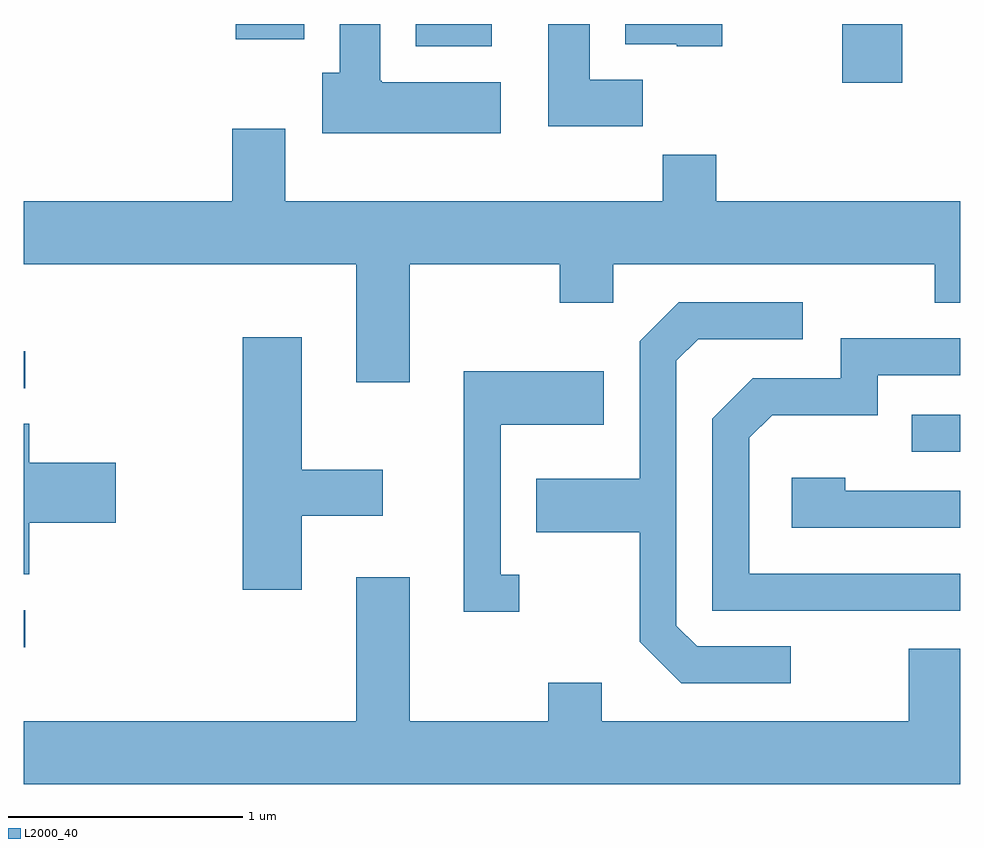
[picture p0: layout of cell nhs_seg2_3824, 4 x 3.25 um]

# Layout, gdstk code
import gdstk
lib = gdstk.Library(unit=1e-6, precision=1e-09)
def R(c, l, rs):  # rectangles x0, y0, x1, y1
    for r in rs: c.add(gdstk.rectangle(r[:2], r[2:], *l))
def P(c, l, *ps):  # polygons
    for p in ps: c.add(gdstk.Polygon(p, *l))
L2000_40 = (2000, 40)

nhs_seg2_3824 = lib.new_cell('nhs_seg2_3824')
R(nhs_seg2_3824, L2000_40, [(297.611,1031.141,297.618,1031.299), (301.403,1031.976,301.611,1032.134), (297.611,1032.246,297.618,1032.404), (301.106,1033.551,301.364,1033.802), (299.286,1033.706,299.609,1033.802), (298.516,1033.736,298.809,1033.802)])
P(nhs_seg2_3824, L2000_40, [(300.594,1033.802),(300.181,1033.802),(300.181,1033.716),(300.4,1033.716),(300.4,1033.706),(300.594,1033.706)],
  [(299.649,1033.554),(299.14,1033.554),(299.14,1033.56),(299.134,1033.56),(299.134,1033.802),(298.961,1033.802),(298.961,1033.594),(298.886,1033.594),(298.886,1033.336),(299.649,1033.336)],
  [(300.254,1033.564),(300.029,1033.564),(300.029,1033.802),(299.851,1033.802),(299.851,1033.366),(300.254,1033.366)],
  [(299.259,1032.776),(299.901,1032.776),(299.901,1032.611),(300.129,1032.611),(300.129,1032.776),(301.501,1032.776),(301.501,1032.611),(301.611,1032.611),(301.611,1033.044),(300.569,1033.044),(300.569,1033.244),(300.341,1033.244),(300.341,1033.044),(298.729,1033.044),(298.729,1033.354),(298.501,1033.354),(298.501,1033.044),(297.611,1033.044),(297.611,1032.776),(299.031,1032.776),(299.031,1032.271),(299.259,1032.271)],
  [(300.888,1031.144),(300.487,1031.144),(300.399,1031.232),(300.399,1032.363),(300.492,1032.456),(300.938,1032.456),(300.938,1032.614),(300.409,1032.614),(300.241,1032.447),(300.241,1031.859),(299.801,1031.859),(299.801,1031.631),(300.241,1031.631),(300.241,1031.164),(300.419,1030.986),(300.888,1030.986)],
  [(298.799,1031.701),(299.144,1031.701),(299.144,1031.899),(298.799,1031.899),(298.799,1032.464),(298.546,1032.464),(298.546,1031.386),(298.799,1031.386)],
  [(301.611,1031.454),(300.709,1031.454),(300.709,1032.034),(300.807,1032.131),(301.259,1032.131),(301.259,1032.301),(301.611,1032.301),(301.611,1032.459),(301.101,1032.459),(301.101,1032.289),(300.724,1032.289),(300.551,1032.117),(300.551,1031.296),(301.611,1031.296)],
  [(299.728,1031.449),(299.649,1031.449),(299.649,1032.091),(300.089,1032.091),(300.089,1032.319),(299.491,1032.319),(299.491,1031.291),(299.728,1031.291)],
  [(297.634,1031.671),(298.004,1031.671),(298.004,1031.929),(297.634,1031.929),(297.634,1032.094),(297.611,1032.094),(297.611,1031.451),(297.634,1031.451)],
  [(301.611,1031.809),(301.119,1031.809),(301.119,1031.864),(300.891,1031.864),(300.891,1031.651),(301.611,1031.651)],
  [(301.611,1031.134),(301.391,1031.134),(301.391,1030.824),(300.079,1030.824),(300.079,1030.989),(299.851,1030.989),(299.851,1030.824),(299.259,1030.824),(299.259,1031.439),(299.031,1031.439),(299.031,1030.824),(297.611,1030.824),(297.611,1030.556),(301.611,1030.556)])

lib.write_gds('nhs_seg2_3824.gds')
